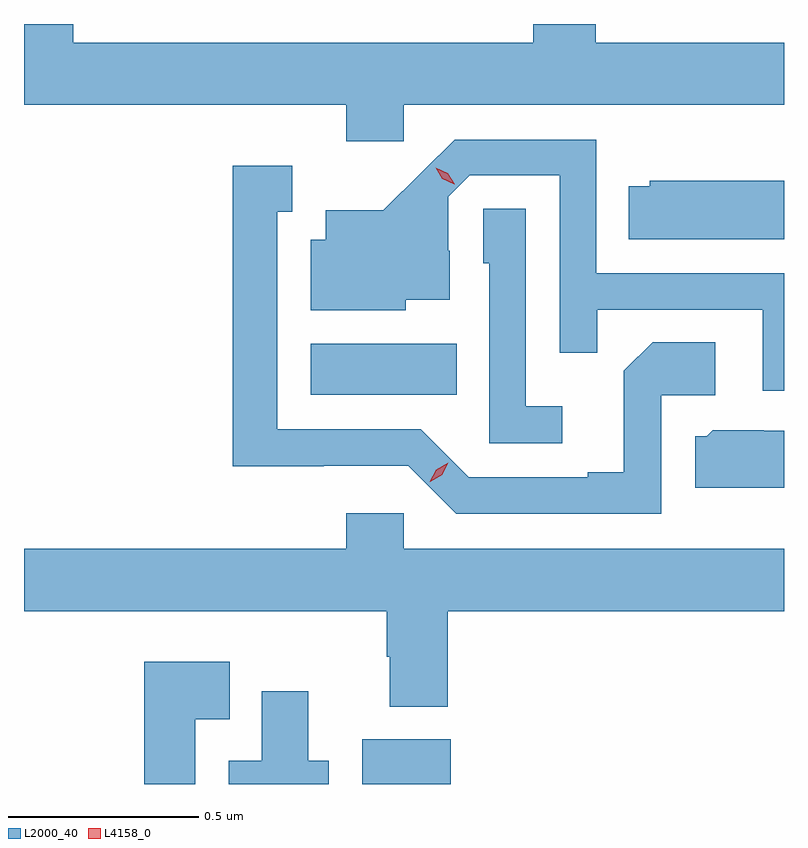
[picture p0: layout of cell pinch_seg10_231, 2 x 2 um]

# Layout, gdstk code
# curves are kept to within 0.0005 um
import gdstk
lib = gdstk.Library(unit=1e-6, precision=1e-09)
def R(c, l, rs):  # rectangles x0, y0, x1, y1
    for r in rs: c.add(gdstk.rectangle(r[:2], r[2:], *l))
def P(c, l, *ps):  # polygons
    for p in ps: c.add(gdstk.Polygon(p, *l))
L2000_40 = (2000, 40)
L4158_0 = (4158, 0)

pinch_seg10_231 = lib.new_cell('pinch_seg10_231')
R(pinch_seg10_231, L2000_40, [(627.683,1303.857,627.916,1303.975), (627.548,1304.882,627.932,1305.016)])
P(pinch_seg10_231, L2000_40, [(627.792,1305.644),(628.793,1305.644),(628.793,1305.808),(628.298,1305.808),(628.298,1305.857),(628.133,1305.857),(628.133,1305.808),(626.922,1305.808),(626.922,1305.857),(626.793,1305.857),(626.793,1305.644),(627.641,1305.644),(627.641,1305.549),(627.792,1305.549)],
  [(628.793,1305.201),(628.299,1305.201),(628.299,1305.552),(627.926,1305.552),(627.739,1305.367),(627.587,1305.367),(627.587,1305.289),(627.548,1305.289),(627.548,1305.104),(627.798,1305.104),(627.798,1305.131),(627.913,1305.131),(627.913,1305.26),(627.909,1305.26),(627.909,1305.402),(627.966,1305.459),(628.203,1305.459),(628.203,1304.992),(628.301,1304.992),(628.301,1305.105),(628.737,1305.105),(628.737,1304.892),(628.793,1304.892)],
  [(628.47,1304.88),(628.612,1304.88),(628.612,1305.02),(628.447,1305.02),(628.371,1304.944),(628.371,1304.677),(628.277,1304.677),(628.277,1304.664),(627.963,1304.664),(627.837,1304.79),(627.46,1304.79),(627.46,1305.363),(627.499,1305.363),(627.499,1305.484),(627.342,1305.484),(627.342,1304.693),(627.582,1304.693),(627.582,1304.694),(627.804,1304.694),(627.93,1304.568),(628.47,1304.568)],
  [(628.793,1305.445),(628.44,1305.445),(628.44,1305.43),(628.384,1305.43),(628.384,1305.29),(628.793,1305.29)],
  [(628.21,1304.851),(628.113,1304.851),(628.113,1305.371),(628.002,1305.371),(628.002,1305.228),(628.017,1305.228),(628.017,1304.754),(628.21,1304.754)],
  [(628.793,1304.787),(628.74,1304.787),(628.74,1304.788),(628.606,1304.788),(628.59,1304.772),(628.559,1304.772),(628.559,1304.636),(628.793,1304.636)],
  [(627.908,1304.312),(628.793,1304.312),(628.793,1304.476),(627.792,1304.476),(627.792,1304.569),(627.641,1304.569),(627.641,1304.476),(626.793,1304.476),(626.793,1304.312),(627.748,1304.312),(627.748,1304.192),(627.755,1304.192),(627.755,1304.06),(627.908,1304.06)],
  [(627.244,1304.027),(627.334,1304.027),(627.334,1304.179),(627.11,1304.179),(627.11,1303.857),(627.244,1303.857)],
  [(627.595,1303.918),(627.541,1303.918),(627.541,1304.101),(627.419,1304.101),(627.419,1303.918),(627.332,1303.918),(627.332,1303.857),(627.595,1303.857)])
P(pinch_seg10_231, L4158_0, [(627.925,1305.435),(627.894,1305.45),(627.877,1305.479),(627.877,1305.479),(627.877,1305.479),(627.908,1305.464),(627.926,1305.435),(627.926,1305.435)],
  [(627.861,1304.652),(627.861,1304.652),(627.878,1304.684),(627.91,1304.703),(627.91,1304.703),(627.91,1304.703),(627.893,1304.671),(627.862,1304.652)])

lib.write_gds('pinch_seg10_231.gds')
